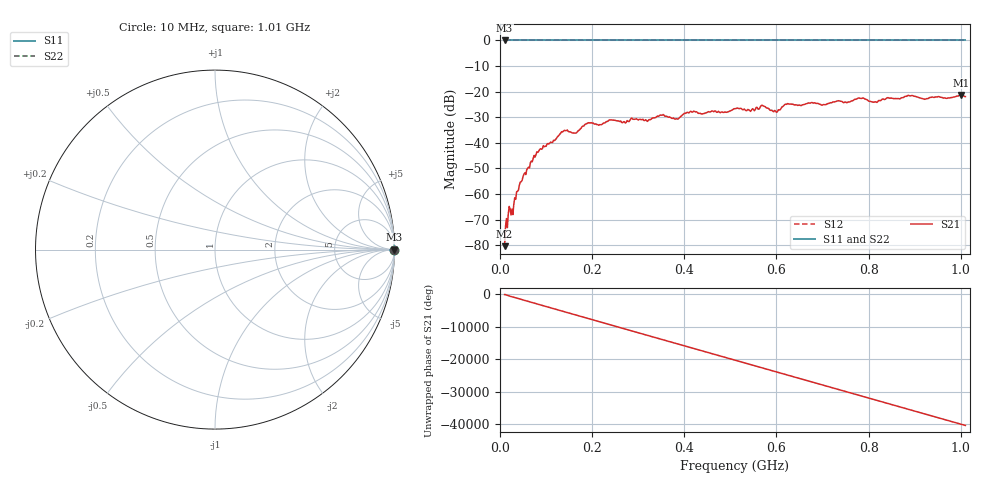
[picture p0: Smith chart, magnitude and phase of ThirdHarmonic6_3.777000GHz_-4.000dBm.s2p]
! 8/17/2025 1:00:44 PM
! C:\ANRITSUVNA\TEMP\TEMP.S2P
! CHANNEL.1
! TR.MEASUREMENT
! RAW.DATA
! RF.CORRECTION.OFF
! AVERAGING.OFF
! IF.BANDWIDTH: 5KHZ
! SWEEPTYPE:  FREQ.SWEEP(Linear)
! Reference Plane Port Info
! PORT:  PORT1  PORT2
! DISTANCE:  0  m  0  m
! TIME:  0  s  0  s
! PHASE.OFFSET:  0  deg.  0  deg.
! LOSS:  0  dB  0  dB
! REF.LOSS:  0  dB  0  dB
! REF.FREQ:  0  Hz  0  Hz
! Power Info
! POWER:  -20  dBm  -20  dBm
! EFF.POWER:  -20  dBm  -20  dBm
! SOURCE.ATTEN:  0  dB  0  dB
! TEST.ATTEN:  0  dB  0  dB
# GHZ S RI R 50.0
! FREQ.GHZ  S11RE  S11IM  S21RE  S21IM  S12RE  S12IM  S22RE  S22IM
!; PortSelection: Port_12
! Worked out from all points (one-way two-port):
!   501 points, 10 MHz to 1.01 GHz, reference 50 ohm
!   highest |S21| = -21.24 dB at 1 GHz (marker M1); lowest = -80.3 dB at 10 MHz (marker M2)
!   lowest |S11| = 0.0 dB at 10 MHz (marker M3)
!   |S11| at or under -10 dB: nowhere
!   |S22| runs from 0.0 to 0.0 dB; largest |S21 - S12| = 1.1
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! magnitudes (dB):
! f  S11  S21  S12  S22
! 10 MHz  0.0  -80.3  0.0  0.0
! 18 MHz  0.0  -67.6  0.0  0.0
! 28 MHz  0.0  -68.0  0.0  0.0
! 40 MHz  0.0  -58.5  0.0  0.0
! 76 MHz  0.0  -45.5  0.0  0.0
! 136 MHz  0.0  -35.7  0.0  0.0
! 162 MHz  0.0  -36.2  0.0  0.0
! 178 MHz  0.0  -33.7  0.0  0.0
! 194 MHz  0.0  -32.2  0.0  0.0
! 344 MHz  0.0  -29.6  0.0  0.0
! 384 MHz  0.0  -30.6  0.0  0.0
! 416 MHz  0.0  -27.9  0.0  0.0
! 510 MHz  0.0  -26.7  0.0  0.0
! 570 MHz  0.0  -25.4  0.0  0.0
! 598 MHz  0.0  -27.6  0.0  0.0
! 622 MHz  0.0  -25.0  0.0  0.0
! 678 MHz  0.0  -24.3  0.0  0.0
! 782 MHz  0.0  -22.6  0.0  0.0
! 814 MHz  0.0  -23.9  0.0  0.0
! 844 MHz  0.0  -22.5  0.0  0.0
! 1 GHz  0.0  -21.2  0.0  0.0
! 1.01 GHz  0.0  -21.9  0.0  0.0
